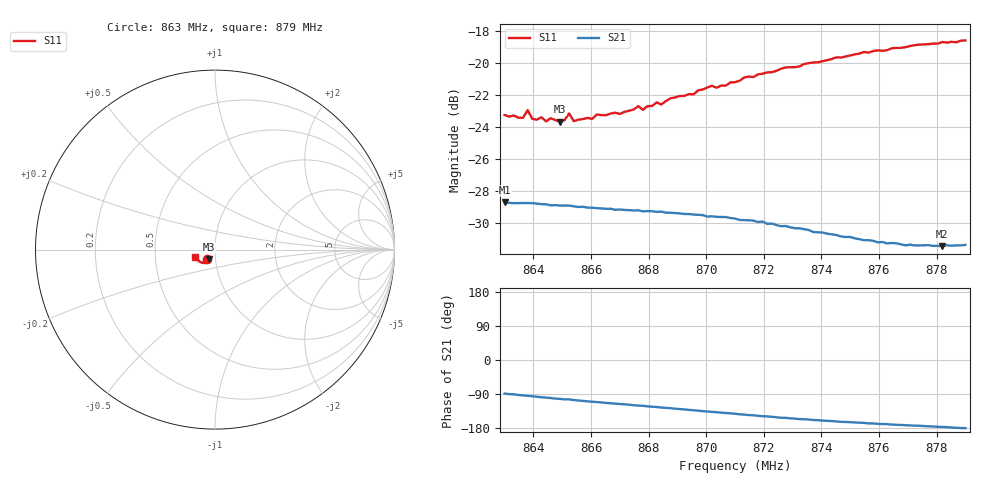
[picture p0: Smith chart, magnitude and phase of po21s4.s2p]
# HZ S RI R 50
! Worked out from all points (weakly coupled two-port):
!   101 points, 863 MHz to 879 MHz, reference 50 ohm
!   highest |S21| = -28.72 dB at 863 MHz (marker M1); lowest = -31.5 dB at 878.2 MHz (marker M2)
!   lowest |S11| = -23.7 dB at 864.92 MHz (marker M3), VSWR 1.14, Z = 46.3 - j5.09 ohm
!   |S11| at or under -10 dB: start of sweep to end of sweep
!   S12 and S22 are empty: the file has one direction only
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8.63e8  -0.0435 -0.0533  0.000845 -0.0366  0 0  0 0
8.6364e8  -0.0405 -0.0538  -0.00216 -0.0364  0 0  0 0
8.638e8  -0.0459 -0.0544  -0.00288 -0.0364  0 0  0 0
8.6396e8  -0.04 -0.0537  -0.00357 -0.0363  0 0  0 0
8.6492e8  -0.036 -0.0548  -0.00782 -0.0349  0 0  0 0
8.6508e8  -0.0363 -0.0554  -0.00859 -0.0348  0 0  0 0
8.6524e8  -0.0395 -0.0573  -0.00857 -0.0348  0 0  0 0
8.654e8  -0.0344 -0.0561  -0.00962 -0.0343  0 0  0 0
8.6572e8  -0.0342 -0.0574  -0.011 -0.0338  0 0  0 0
8.6604e8  -0.0333 -0.058  -0.0121 -0.0331  0 0  0 0
8.662e8  -0.0366 -0.0585  -0.0126 -0.0328  0 0  0 0
8.67e8  -0.0344 -0.0601  -0.0154 -0.0313  0 0  0 0
8.6764e8  -0.0356 -0.0641  -0.0174 -0.0299  0 0  0 0
8.678e8  -0.0346 -0.0624  -0.0176 -0.0295  0 0  0 0
8.6828e8  -0.0353 -0.0665  -0.0192 -0.0284  0 0  0 0
8.6844e8  -0.0351 -0.0654  -0.0199 -0.0279  0 0  0 0
8.6876e8  -0.0372 -0.0681  -0.0205 -0.0271  0 0  0 0
8.71e8  -0.0473 -0.0731  -0.0257 -0.0201  0 0  0 0
8.7372e8  -0.0674 -0.0744  -0.0275 -0.011  0 0  0 0
8.7644e8  -0.0921 -0.0623  -0.0269 -0.00464  0 0  0 0
8.782e8  -0.1056 -0.0488  -0.0267 -0.00156  0 0  0 0
8.79e8  -0.1108 -0.0395  -0.027 -0.000116  0 0  0 0
